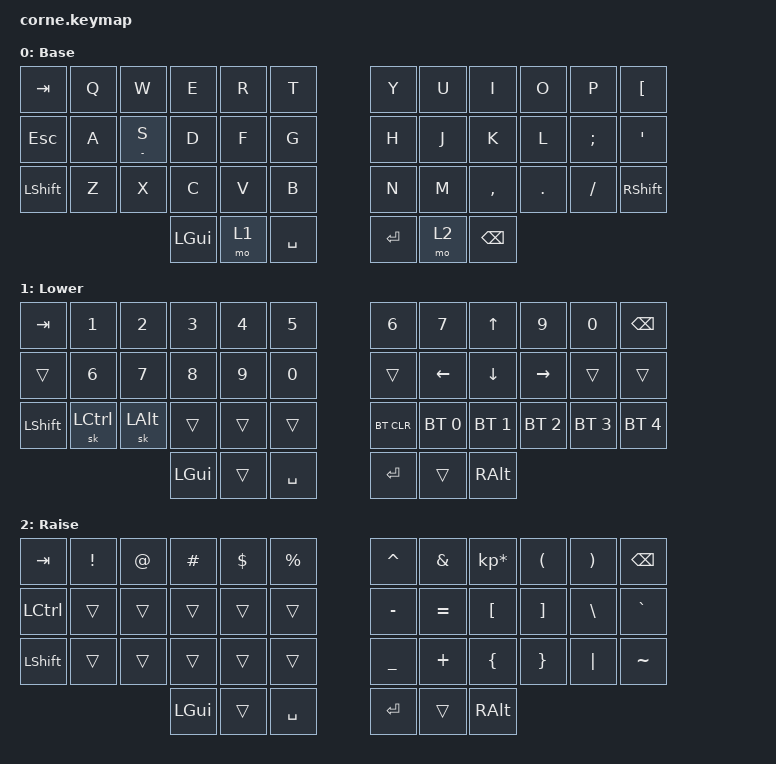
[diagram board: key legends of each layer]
/*
 * Copyright (c) 2020 The ZMK Contributors
 *
 * SPDX-License-Identifier: MIT
 */

#include <behaviors.dtsi>
#include <dt-bindings/zmk/bt.h>
#include <dt-bindings/zmk/keys.h>

#define BASE 0
#define LOWER 1
#define RAISE 2
#define COMBO 3

&mt { flavor = "tap-preferred"; };

/ {
    // combos{
    //         compatible = "zmk,combos";
    //         // toggleToCombo {
    //         // bindings = <&tog COMBO>;
    //         // key-positions = <37 40>;
    //         // layers = <BASE LOWER RAISE>;
    //         // };
    //         // exitCombo {
    //         // bindings = <&tog BASE>;
    //         // key-positions = <37 40>;
    //         // layers = <COMBO>;
    //         // };
    // };

    keymap {
        compatible = "zmk,keymap";

        default_layer {
            display-name = "Base";
            bindings = <
&kp TAB    &kp Q  &kp W        &kp E     &kp R  &kp T        &kp Y    &kp U  &kp I          &kp O    &kp P     &kp LBKT
&kp ESC    &kp A  &mt MINUS S  &kp D     &kp F  &kp G        &kp H    &kp J  &kp K          &kp L    &kp SEMI  &kp SQT
&kp LSHFT  &kp Z  &kp X        &kp C     &kp V  &kp B        &kp N    &kp M  &kp COMMA      &kp DOT  &kp FSLH  &kp RIGHT_SHIFT
                               &kp LGUI  &mo 1  &kp SPACE    &kp RET  &mo 2  &kp BACKSPACE
            >;
        };

        lower_layer {
            display-name = "Lower";
            bindings = <
&kp TAB    &kp N1     &kp N2        &kp N3    &kp N4  &kp N5       &kp N6      &kp N7        &kp UP        &kp N9        &kp N0        &kp BSPC
&trans     &kp N6     &kp N7        &kp N8    &kp N9  &kp N0       &trans      &kp LEFT      &kp DOWN      &kp RIGHT     &trans        &trans
&kp LSHFT  &sk LCTRL  &sk LEFT_ALT  &trans    &trans  &trans       &bt BT_CLR  &bt BT_SEL 0  &bt BT_SEL 1  &bt BT_SEL 2  &bt BT_SEL 3  &bt BT_SEL 4
                                    &kp LGUI  &trans  &kp SPACE    &kp RET     &trans        &kp RALT
            >;
        };

        raise_layer {
            display-name = "Raise";
            bindings = <
&kp TAB    &kp EXCL  &kp AT  &kp HASH  &kp DLLR  &kp PRCNT    &kp CARET  &kp AMPS   &kp KP_MULTIPLY  &kp LPAR  &kp RPAR  &kp BSPC
&kp LCTRL  &trans    &trans  &trans    &trans    &trans       &kp MINUS  &kp EQUAL  &kp LBKT         &kp RBKT  &kp BSLH  &kp GRAVE
&kp LSHFT  &trans    &trans  &trans    &trans    &trans       &kp UNDER  &kp PLUS   &kp LBRC         &kp RBRC  &kp PIPE  &kp TILDE
                             &kp LGUI  &trans    &kp SPACE    &kp RET    &trans     &kp RALT
            >;
        };
    };
};
